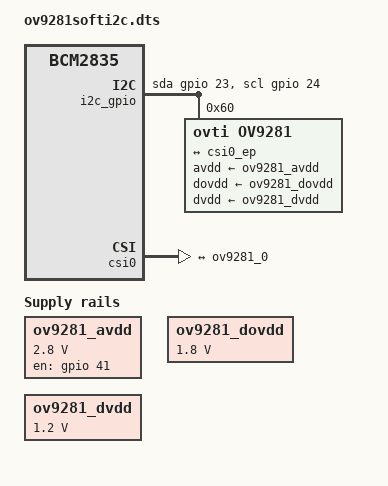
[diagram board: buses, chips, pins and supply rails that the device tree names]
/dts-v1/;
/plugin/;

/{
	compatible = "brcm,bcm2835";

	fragment@0 {
		target-path = "/";
		__overlay__ {
			i2c_gpio: i2c@0 {
				reg = <0xffffffff>;
				compatible = "i2c-gpio";
				gpios = <&gpio 23 0 &gpio 24 0>;
				i2c-gpio,delay-us = <2>;
				#address-cells = <1>;
				#size-cells = <0>;
			};
		};
	};
	fragment@1 {
		target-path = "/aliases";
		__overlay__ {
			i2c_gpio = "/i2c@0";
		};
	};

	fragment@2 {
		target-path = "/__symbols__";
		__overlay__ {
			i2c_gpio = "/i2c@0";
		};
	};

	fragment@3 {
		target = <&i2c_gpio>;
		__overlay__ {
			#address-cells = <1>;
			#size-cells = <0>;
			status = "okay";

			ov9281: ov9281@60 {
				compatible = "ovti,ov9281";
				reg = <0x60>;
				status = "okay";

				clocks = <&ov9281_clk>;
				clock-names = "xvclk";

				avdd-supply = <&ov9281_avdd>;
				dovdd-supply = <&ov9281_dovdd>;
				dvdd-supply = <&ov9281_dvdd>;

				port {
					ov9281_0: endpoint {
						remote-endpoint = <&csi0_ep>;
						clock-lanes = <0>;
						data-lanes = <1 2>;
						clock-noncontinuous;
						link-frequencies =
							/bits/ 64 <400000000>;
					};
				};
			};
		};
	};

	fragment@4 {
		target = <&csi0>;
		__overlay__ {
			status = "okay";

			port {
				csi0_ep: endpoint {
					remote-endpoint = <&ov9281_0>;
					data-lanes = <1 2>;
					clock-noncontinuous;
				};
			};
		};
	};

	fragment@5 {
		target-path="/";
		__overlay__ {
			ov9281_avdd: fixedregulator@0 {
				compatible = "regulator-fixed";
				regulator-name = "ov9281_avdd";
				regulator-min-microvolt = <2800000>;
				regulator-max-microvolt = <2800000>;
				gpio = <&gpio 41 0>;
				enable-active-high;
			};
			ov9281_dovdd: fixedregulator@1 {
				compatible = "regulator-fixed";
				regulator-name = "ov9281_dovdd";
				regulator-min-microvolt = <1800000>;
				regulator-max-microvolt = <1800000>;
			};
			ov9281_dvdd: fixedregulator@2 {
				compatible = "regulator-fixed";
				regulator-name = "ov9281_dvdd";
				regulator-min-microvolt = <1200000>;
				regulator-max-microvolt = <1200000>;
			};
			ov9281_clk: ov9281-clk {
				compatible = "fixed-clock";
				#clock-cells = <0>;
				clock-frequency = <24000000>;
			};
		};
	};

	fragment@6 {
		target-path="/__overrides__";
		__overlay__ {
			cam0-pwdn-ctrl = <&ov9281_avdd>,"gpio:0";
			cam0-pwdn      = <&ov9281_avdd>,"gpio:4";
		};
	};

	__overrides__ {
		i2c_gpio_sda = <&i2c_gpio>,"gpios:4";
		i2c_gpio_scl = <&i2c_gpio>,"gpios:16";
		i2c_gpio_delay_us = <&i2c_gpio>,"i2c-gpio,delay-us:0";
		bus = <&i2c_gpio>, "reg:0";
	};
};
